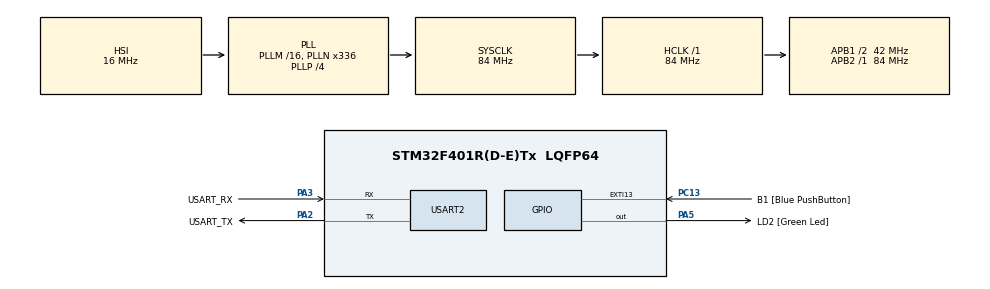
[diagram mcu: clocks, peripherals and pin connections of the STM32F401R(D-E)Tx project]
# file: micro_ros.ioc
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Dma.Request0=USART2_RX
Dma.Request1=USART2_TX
Dma.USART2_RX.0.Direction=DMA_PERIPH_TO_MEMORY
Dma.USART2_RX.0.FIFOMode=DMA_FIFOMODE_DISABLE
Dma.USART2_RX.0.Instance=DMA1_Stream5
Dma.USART2_RX.0.MemDataAlignment=DMA_MDATAALIGN_BYTE
Dma.USART2_RX.0.MemInc=DMA_MINC_ENABLE
Dma.USART2_RX.0.Mode=DMA_CIRCULAR
Dma.USART2_RX.0.PeriphDataAlignment=DMA_PDATAALIGN_BYTE
Dma.USART2_RX.0.PeriphInc=DMA_PINC_DISABLE
Dma.USART2_RX.0.Priority=DMA_PRIORITY_VERY_HIGH
Dma.USART2_TX.1.Direction=DMA_MEMORY_TO_PERIPH
Dma.USART2_TX.1.FIFOMode=DMA_FIFOMODE_DISABLE
Dma.USART2_TX.1.Instance=DMA1_Stream6
Dma.USART2_TX.1.MemDataAlignment=DMA_MDATAALIGN_BYTE
Dma.USART2_TX.1.MemInc=DMA_MINC_ENABLE
Dma.USART2_TX.1.Mode=DMA_NORMAL
Dma.USART2_TX.1.PeriphDataAlignment=DMA_PDATAALIGN_BYTE
Dma.USART2_TX.1.PeriphInc=DMA_PINC_DISABLE
Dma.USART2_TX.1.Priority=DMA_PRIORITY_VERY_HIGH
FREERTOS.Tasks01=defaultTask,24,3000,StartDefaultTask,Default,NULL,Dynamic,NULL,NULL
FREERTOS.configUSE_NEWLIB_REENTRANT=1
Mcu.Family=STM32F4
Mcu.Name=STM32F401R(D-E)Tx
Mcu.Package=LQFP64
NVIC.DMA1_Stream5_IRQn=true\:5\:0\:false\:false\:true\:true\:false\:true\:true
NVIC.DMA1_Stream6_IRQn=true\:5\:0\:false\:false\:true\:true\:false\:true\:true
NVIC.PriorityGroup=NVIC_PRIORITYGROUP_4
NVIC.TIM1_UP_TIM10_IRQn=true\:0\:0\:false\:false\:true\:false\:false\:true\:true
NVIC.TimeBase=TIM1_UP_TIM10_IRQn
NVIC.TimeBaseIP=TIM1
NVIC.USART2_IRQn=true\:5\:0\:false\:false\:true\:true\:true\:true\:true
PA13.GPIO_Label=TMS
PA13.Mode=Serial_Wire
PA13.Signal=SYS_JTMS-SWDIO
PA14.GPIO_Label=TCK
PA14.Mode=Serial_Wire
PA14.Signal=SYS_JTCK-SWCLK
PA2.GPIO_Label=USART_TX
PA2.GPIO_Mode=GPIO_MODE_AF_PP
PA2.GPIO_PuPd=GPIO_NOPULL
PA2.GPIO_Speed=GPIO_SPEED_FREQ_LOW
PA2.Mode=Asynchronous
PA2.Signal=USART2_TX
PA3.GPIO_Label=USART_RX
PA3.GPIO_Mode=GPIO_MODE_AF_PP
PA3.GPIO_PuPd=GPIO_NOPULL
PA3.GPIO_Speed=GPIO_SPEED_FREQ_LOW
PA3.Mode=Asynchronous
PA3.Signal=USART2_RX
PA5.GPIO_Label=LD2 [Green Led]
PA5.GPIO_Mode=GPIO_MODE_OUTPUT_PP
PA5.GPIO_PuPd=GPIO_NOPULL
PA5.GPIO_Speed=GPIO_SPEED_FREQ_LOW
PA5.Signal=GPIO_Output
PB3.GPIO_Label=SWO
PB3.Signal=SYS_JTDO-SWO
PC13-ANTI_TAMP.GPIO_Label=B1 [Blue PushButton]
PC13-ANTI_TAMP.GPIO_ModeDefaultEXTI=GPIO_MODE_IT_FALLING
PC13-ANTI_TAMP.GPIO_PuPd=GPIO_NOPULL
PC13-ANTI_TAMP.Signal=GPXTI13
PC14-OSC32_IN.Mode=LSE-External-Oscillator
PC14-OSC32_IN.Signal=RCC_OSC32_IN
PC15-OSC32_OUT.Mode=LSE-External-Oscillator
PC15-OSC32_OUT.Signal=RCC_OSC32_OUT
PH0\ -\ OSC_IN.Mode=HSE-External-Oscillator
PH0\ -\ OSC_IN.Signal=RCC_OSC_IN
PH1\ -\ OSC_OUT.Mode=HSE-External-Oscillator
PH1\ -\ OSC_OUT.Signal=RCC_OSC_OUT
ProjectManager.HeapSize=0x200
ProjectManager.StackSize=0x400
ProjectManager.TargetToolchain=STM32CubeIDE
RCC.48MHZClocksFreq_Value=48000000
RCC.AHBFreq_Value=84000000
RCC.APB1CLKDivider=RCC_HCLK_DIV2
RCC.APB1Freq_Value=42000000
RCC.APB1TimFreq_Value=84000000
RCC.APB2Freq_Value=84000000
RCC.APB2TimFreq_Value=84000000
RCC.CortexFreq_Value=84000000
RCC.HCLKFreq_Value=84000000
RCC.HSE_VALUE=8000000
RCC.HSI_VALUE=16000000
RCC.PLLN=336
RCC.PLLP=RCC_PLLP_DIV4
RCC.PLLQ=7
RCC.SYSCLKFreq_VALUE=84000000
RCC.SYSCLKSource=RCC_SYSCLKSOURCE_PLLCLK
RCC.VCOOutputFreq_Value=336000000
USART2.VirtualMode=VM_ASYNC
VP_FREERTOS_VS_CMSIS_V2.Mode=CMSIS_V2
VP_SYS_VS_tim1.Mode=TIM1
board=NUCLEO-F401RE

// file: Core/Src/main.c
/* USER CODE BEGIN Header */
/**
  ******************************************************************************
  * @file           : main.c
  * @brief          : Main program body
  ******************************************************************************
  * @attention
  *
  * Copyright (c) 2024 STMicroelectronics.
  * All rights reserved.
  *
  * This software is licensed under terms that can be found in the LICENSE file
  * in the root directory of this software component.
  * If no LICENSE file comes with this software, it is provided AS-IS.
  *
  ******************************************************************************
  */
/* USER CODE END Header */
#include "main.h"
#include "cmsis_os.h"

/* USER CODE BEGIN Includes */
#include <rcl/rcl.h>
#include <rcl/error_handling.h>
#include <rclc/rclc.h>
#include <rclc/executor.h>
#include <uxr/client/transport.h>
#include <rmw_microxrcedds_c/config.h>
#include <rmw_microros/rmw_microros.h>

#include <std_msgs/msg/int32.h>
#include <geometry_msgs/msg/twist.h>

/* USER CODE END Includes */

UART_HandleTypeDef huart2;
DMA_HandleTypeDef hdma_usart2_rx;
DMA_HandleTypeDef hdma_usart2_tx;

/* Definitions for defaultTask */
osThreadId_t defaultTaskHandle;
const osThreadAttr_t defaultTask_attributes = {
  .name = "defaultTask",
  .stack_size = 3000 * 4,
  .priority = (osPriority_t) osPriorityNormal,
};

void SystemClock_Config(void);
static void MX_GPIO_Init(void);
static void MX_DMA_Init(void);
static void MX_USART2_UART_Init(void);
void StartDefaultTask(void *argument);

int main(void)
{

  /* MCU Configuration--------------------------------------------------------*/

  /* Reset of all peripherals, Initializes the Flash interface and the Systick. */
  HAL_Init();

  /* Configure the system clock */
  SystemClock_Config();

  /* Initialize all configured peripherals */
  MX_GPIO_Init();
  MX_DMA_Init();
  MX_USART2_UART_Init();

  /* Init scheduler */
  osKernelInitialize();

  /* Create the thread(s) */
  /* creation of defaultTask */
  defaultTaskHandle = osThreadNew(StartDefaultTask, NULL, &defaultTask_attributes);

  /* Start scheduler */
  osKernelStart();

  /* We should never get here as control is now taken by the scheduler */
  /* Infinite loop */
  while (1)
  {

  }
}

void SystemClock_Config(void)
{
  RCC_OscInitTypeDef RCC_OscInitStruct = {0};
  RCC_ClkInitTypeDef RCC_ClkInitStruct = {0};

  /** Configure the main internal regulator output voltage
  */
  __HAL_RCC_PWR_CLK_ENABLE();
  __HAL_PWR_VOLTAGESCALING_CONFIG(PWR_REGULATOR_VOLTAGE_SCALE2);

  /** Initializes the RCC Oscillators according to the specified parameters
  * in the RCC_OscInitTypeDef structure.
  */
  RCC_OscInitStruct.OscillatorType = RCC_OSCILLATORTYPE_HSI;
  RCC_OscInitStruct.HSIState = RCC_HSI_ON;
  RCC_OscInitStruct.HSICalibrationValue = RCC_HSICALIBRATION_DEFAULT;
  RCC_OscInitStruct.PLL.PLLState = RCC_PLL_ON;
  RCC_OscInitStruct.PLL.PLLSource = RCC_PLLSOURCE_HSI;
  RCC_OscInitStruct.PLL.PLLM = 16;
  RCC_OscInitStruct.PLL.PLLN = 336;
  RCC_OscInitStruct.PLL.PLLP = RCC_PLLP_DIV4;
  RCC_OscInitStruct.PLL.PLLQ = 7;
  if (HAL_RCC_OscConfig(&RCC_OscInitStruct) != HAL_OK)
  {
    Error_Handler();
  }

  /** Initializes the CPU, AHB and APB buses clocks
  */
  RCC_ClkInitStruct.ClockType = RCC_CLOCKTYPE_HCLK|RCC_CLOCKTYPE_SYSCLK
                              |RCC_CLOCKTYPE_PCLK1|RCC_CLOCKTYPE_PCLK2;
  RCC_ClkInitStruct.SYSCLKSource = RCC_SYSCLKSOURCE_PLLCLK;
  RCC_ClkInitStruct.AHBCLKDivider = RCC_SYSCLK_DIV1;
  RCC_ClkInitStruct.APB1CLKDivider = RCC_HCLK_DIV2;
  RCC_ClkInitStruct.APB2CLKDivider = RCC_HCLK_DIV1;

  if (HAL_RCC_ClockConfig(&RCC_ClkInitStruct, FLASH_LATENCY_2) != HAL_OK)
  {
    Error_Handler();
  }
}

static void MX_USART2_UART_Init(void)
{

  huart2.Instance = USART2;
  huart2.Init.BaudRate = 115200;
  huart2.Init.WordLength = UART_WORDLENGTH_8B;
  huart2.Init.StopBits = UART_STOPBITS_1;
  huart2.Init.Parity = UART_PARITY_NONE;
  huart2.Init.Mode = UART_MODE_TX_RX;
  huart2.Init.HwFlowCtl = UART_HWCONTROL_NONE;
  huart2.Init.OverSampling = UART_OVERSAMPLING_16;
  if (HAL_UART_Init(&huart2) != HAL_OK)
  {
    Error_Handler();
  }

}

static void MX_DMA_Init(void)
{

  /* DMA controller clock enable */
  __HAL_RCC_DMA1_CLK_ENABLE();

  /* DMA interrupt init */
  /* DMA1_Stream5_IRQn interrupt configuration */
  HAL_NVIC_SetPriority(DMA1_Stream5_IRQn, 5, 0);
  HAL_NVIC_EnableIRQ(DMA1_Stream5_IRQn);
  /* DMA1_Stream6_IRQn interrupt configuration */
  HAL_NVIC_SetPriority(DMA1_Stream6_IRQn, 5, 0);
  HAL_NVIC_EnableIRQ(DMA1_Stream6_IRQn);

}

static void MX_GPIO_Init(void)
{
  GPIO_InitTypeDef GPIO_InitStruct = {0};

  /* GPIO Ports Clock Enable */
  __HAL_RCC_GPIOC_CLK_ENABLE();
  __HAL_RCC_GPIOH_CLK_ENABLE();
  __HAL_RCC_GPIOA_CLK_ENABLE();
  __HAL_RCC_GPIOB_CLK_ENABLE();

  /*Configure GPIO pin Output Level */
  HAL_GPIO_WritePin(LD2_GPIO_Port, LD2_Pin, GPIO_PIN_RESET);

  /*Configure GPIO pin : B1_Pin */
  GPIO_InitStruct.Pin = B1_Pin;
  GPIO_InitStruct.Mode = GPIO_MODE_IT_FALLING;
  GPIO_InitStruct.Pull = GPIO_NOPULL;
  HAL_GPIO_Init(B1_GPIO_Port, &GPIO_InitStruct);

  /*Configure GPIO pin : LD2_Pin */
  GPIO_InitStruct.Pin = LD2_Pin;
  GPIO_InitStruct.Mode = GPIO_MODE_OUTPUT_PP;
  GPIO_InitStruct.Pull = GPIO_NOPULL;
  GPIO_InitStruct.Speed = GPIO_SPEED_FREQ_LOW;
  HAL_GPIO_Init(LD2_GPIO_Port, &GPIO_InitStruct);

}

/* USER CODE BEGIN 4 */
bool cubemx_transport_open(struct uxrCustomTransport * transport);
bool cubemx_transport_close(struct uxrCustomTransport * transport);
size_t cubemx_transport_write(struct uxrCustomTransport* transport, const uint8_t * buf, size_t len, uint8_t * err);
size_t cubemx_transport_read(struct uxrCustomTransport* transport, uint8_t* buf, size_t len, int timeout, uint8_t* err);

void * microros_allocate(size_t size, void * state);
void microros_deallocate(void * pointer, void * state);
void * microros_reallocate(void * pointer, size_t size, void * state);
void * microros_zero_allocate(size_t number_of_elements, size_t size_of_element, void * state);

void (* rclc_subscription_callback)(const void *);

void subscription_callback(const void * msgin){
	    // Cast received message to used type
	    const geometry_msgs__msg__Twist * msg = (const geometry_msgs__msg__Twist *)msgin;
	    HAL_GPIO_TogglePin(LD2_GPIO_Port , LD2_Pin);

	    // Process message
	    printf("Received: %d\n", msg->linear.x);
}

void timer_callback(rcl_timer_t * timer, int64_t last_call_time){
	RCLC_UNUSED(last_call_time);
}

/* USER CODE END 4 */

void StartDefaultTask(void *argument)
{
  /* USER CODE BEGIN 5 */
	// micro-ROS configuration

	  rmw_uros_set_custom_transport(
	    true,
	    (void *) &huart2,
	    cubemx_transport_open,
	    cubemx_transport_close,
	    cubemx_transport_write,
	    cubemx_transport_read);

	  rcl_allocator_t freeRTOS_allocator = rcutils_get_zero_initialized_allocator();
	  freeRTOS_allocator.allocate = microros_allocate;
	  freeRTOS_allocator.deallocate = microros_deallocate;
	  freeRTOS_allocator.reallocate = microros_reallocate;
	  freeRTOS_allocator.zero_allocate =  microros_zero_allocate;

	  if (!rcutils_set_default_allocator(&freeRTOS_allocator)) {
	      printf("Error on default allocators (line %d)\n", __LINE__);
	  }

	  // micro-ROS app

	  rcl_subscription_t subscriber;
	  const char * topic_name = "cmd_vel";
	  geometry_msgs__msg__Twist twist_msg;

	  rcl_publisher_t publisher;
	  std_msgs__msg__Int32 msg;

	  rclc_support_t support;
	  rcl_allocator_t allocator;
	  rcl_node_t node;

	  allocator = rcl_get_default_allocator();

	  //create init_options
	  rclc_support_init(&support, 0, NULL, &allocator);

	  // create node
	  rclc_node_init_default(&node, "cubemx_node", "", &support);

	  // create publisher
	  rclc_publisher_init_default(
	      &publisher,
	      &node,
	      ROSIDL_GET_MSG_TYPE_SUPPORT(std_msgs, msg, Int32),
	      "cubemx_publisher");

	  // create subscriber for Twist messages
	  rclc_subscription_init_default(
	    &subscriber, &node,
		ROSIDL_GET_MSG_TYPE_SUPPORT(geometry_msgs, msg, Twist), topic_name);

	  //Add subscription to the executor
	  rcl_timer_t timer = rcl_get_zero_initialized_timer();
	  	const unsigned int timer_timeout = 200;
	  	rclc_timer_init_default(&timer, &support, RCL_MS_TO_NS(timer_timeout), timer_callback);

	  	// create executor
	  	rclc_executor_t executor = rclc_executor_get_zero_initialized_executor();
	  	rclc_executor_init(&executor, &support.context, 2, &allocator);

	  	unsigned int rcl_wait_timeout = 1000;   // in ms
	  	rclc_executor_set_timeout(&executor, RCL_MS_TO_NS(rcl_wait_timeout));
	  	rclc_executor_add_timer(&executor, &timer);
	  	rclc_executor_add_subscription(&executor, &subscriber, &twist_msg, subscription_callback, ON_NEW_DATA);

	  	//rclc_executor_spin(&executor); //Blocking subscriber

	  msg.data = 0;
	  for(;;)
	  {
		  rclc_executor_spin_some(&executor, RCL_MS_TO_NS(100)); //Non blocking spin for subscriber
		  rcl_ret_t ret = rcl_publish(&publisher, &msg, NULL);
		  	  if (ret != RCL_RET_OK){
		  		  printf("Error publishing (line %d)\n", __LINE__);
		  	  }

		  msg.data++;
		  osDelay(10);
	  }
  /* USER CODE END 5 */
}

void HAL_TIM_PeriodElapsedCallback(TIM_HandleTypeDef *htim)
{
  if (htim->Instance == TIM1) {
    HAL_IncTick();
  }
}

void Error_Handler(void)
{
  __disable_irq();
  while (1)
  {
  }
}
